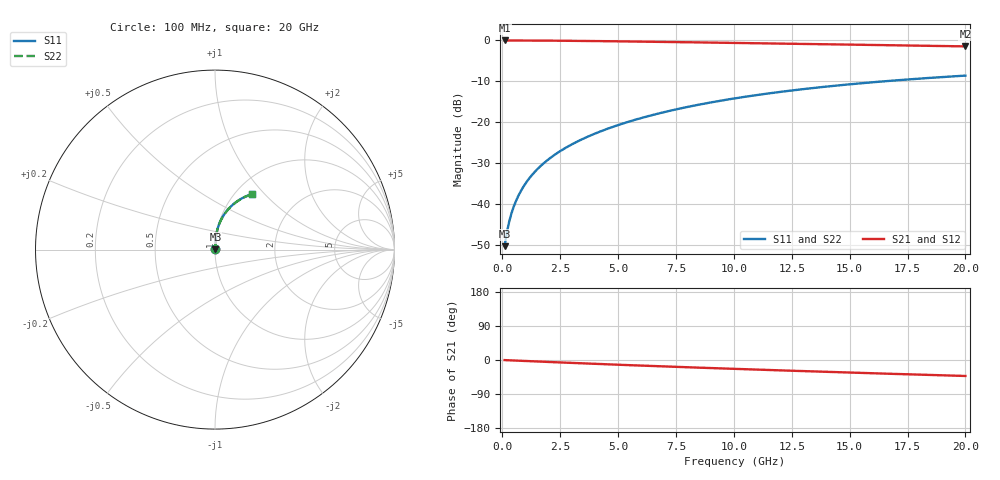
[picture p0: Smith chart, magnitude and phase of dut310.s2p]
! Touchstone file exported from HFSS 2024.1.0
!  File:  C:/UserFiles/LocalFiles/RDL_TSV_Batchsim/temp_RDL_bottom_310_1779610607.aedt
!  Generated:  04:19:21 PM May 24, 2026
!  Design:  RDL_bottom
!  Project:  temp_RDL_bottom_310_1779610607
!  Setup:  Setup1
!  Solution:  Sweep
! Variables:
!  dtsv = 10.80580581um
!  hbump = 3um
!  htsv = 51.4um
!  ldown = 615.44um
!  lrdl = 100um
!  p = 40
!  p1 = 51.37um
!  rhole = 1um
!  t = 450um
!  tdown = 4.27um
!  trdl = 3.915915916um
!  wdown = 23.15um
!  wrdl = 20um
# GHz S MA R 50.000000
! Terminal data exported
! Port[1] = RDL1_T1
! Port[2] = RDL1_T2
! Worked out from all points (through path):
!   200 points, 100 MHz to 20 GHz, reference 50 ohm
!   highest |S21| = -0.02 dB at 100 MHz (marker M1); lowest = -1.5 dB at 20 GHz (marker M2)
!   group delay of S21, straight-line fit = 5.79 ps
!   lowest |S11| = -50.2 dB at 100 MHz (marker M3), VSWR 1.01, Z = 50.2 + j0.196 ohm
!   |S11| at or under -10 dB: start of sweep to 16.46 GHz
!   |S22| runs from -50.2 to -8.6 dB; largest |S21 - S12| = 4.2e-15
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0.1  0.003083 39.1  0.9976 -0.3  0.9976 -0.3  0.003083 39.1
! Gamma 0 0 0 0
! Port Impedance 50 0 50 0
0.2  0.00457 56.3  0.9974 -0.5  0.9974 -0.5  0.00457 56.3
0.3  0.006179 64.3  0.9972 -0.8  0.9972 -0.8  0.00618 64.3
0.4  0.007809 69.1  0.997 -1.1  0.997 -1.1  0.00781 69.1
0.5  0.009453 72.4  0.9969 -1.3  0.9969 -1.3  0.009454 72.4
0.6  0.01111 74.8  0.9967 -1.6  0.9967 -1.6  0.01111 74.8
0.8  0.01448 78.1  0.9963 -2.1  0.9963 -2.1  0.01448 78.1
1.1  0.01961 81.0  0.9956 -2.9  0.9956 -2.9  0.01961 80.9
1.5  0.02658 83.1  0.9944 -3.9  0.9944 -3.9  0.02658 83.1
1.8  0.03189 84.0  0.9933 -4.7  0.9933 -4.7  0.03189 84.0
2.1  0.03726 84.6  0.9921 -5.4  0.9921 -5.4  0.03726 84.6
2.7  0.0482 85.3  0.9891 -6.9  0.9891 -6.9  0.0482 85.3
3.5  0.06321 85.5  0.9843 -8.9  0.9843 -8.9  0.0632 85.4
4.2  0.07673 85.2  0.9795 -10.6  0.9795 -10.6  0.0767 85.1
5  0.09256 84.5  0.9736 -12.5  0.9736 -12.5  0.09253 84.5
6.8  0.1293 82.0  0.9589 -16.6  0.9589 -16.6  0.1292 82.0
8.4  0.1624 79.2  0.9453 -20.0  0.9453 -20.0  0.1623 79.2
10.1  0.1973 75.9  0.9305 -23.5  0.9305 -23.5  0.1972 75.9
11.7  0.2292 72.6  0.9166 -26.8  0.9166 -26.8  0.2291 72.6
13.4  0.2618 69.2  0.9018 -30.1  0.9018 -30.1  0.2616 69.1
16.7  0.3202 62.5  0.873 -36.3  0.873 -36.3  0.3199 62.5
20  0.3715 56.3  0.8445 -42.1  0.8445 -42.1  0.3711 56.3
